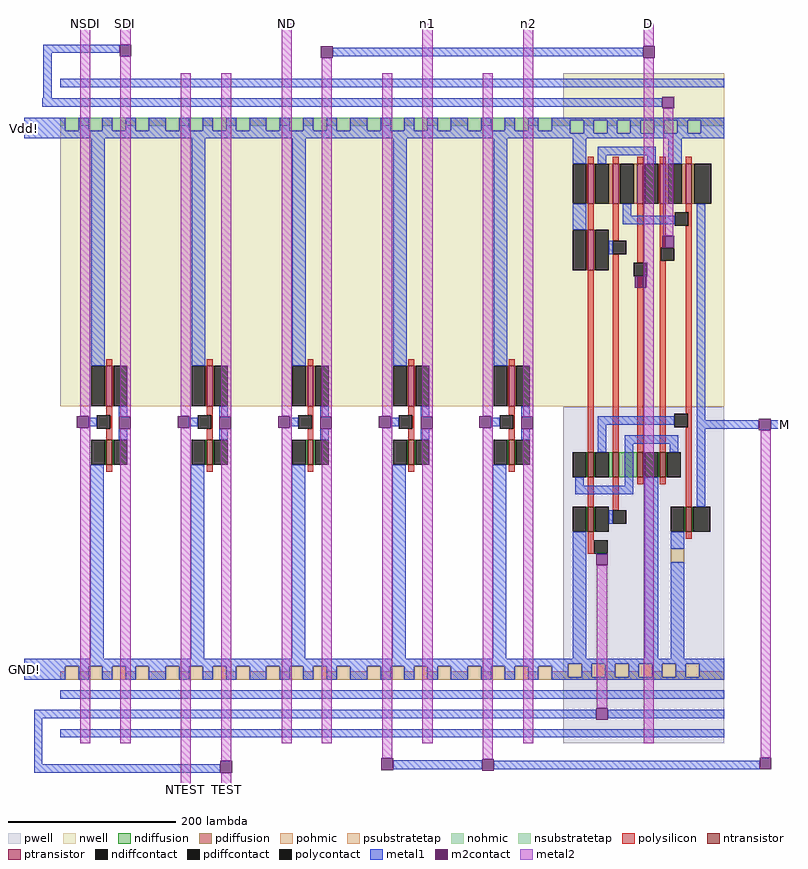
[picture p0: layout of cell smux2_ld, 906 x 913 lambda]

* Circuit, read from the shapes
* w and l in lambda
.subckt smux2_ld D GND! M ND NSDI NTEST SDI TEST Vdd! n1 n2
M1 SDI NSDI GND! VSUBS nfet w=30 l=7
M2 TEST NTEST GND! VSUBS nfet w=30 l=7
M3 D ND GND! VSUBS nfet w=30 l=7
M4 n1 M GND! VSUBS nfet w=30 l=7
M5 n2 M GND! VSUBS nfet w=30 l=7
M6 n3 TEST GND! VSUBS nfet w=30 l=7
M7 n4 TEST n5 VSUBS nfet w=30 l=7
M8 n6 n3 n4 VSUBS nfet w=30 l=7
M9 GND! D n6 VSUBS nfet w=30 l=7
M10 n5 SDI GND! VSUBS nfet w=30 l=7
M11 M n4 n7 VSUBS nfet w=30 l=7
M12 SDI NSDI Vdd! n8 pfet w=48 l=7
M13 TEST NTEST Vdd! n8 pfet w=48 l=7
M14 D ND Vdd! n8 pfet w=48 l=7
M15 n1 M Vdd! n8 pfet w=48 l=7
M16 n2 M Vdd! n8 pfet w=48 l=7
M17 n3 TEST Vdd! n8 pfet w=48 l=7
M18 n9 TEST Vdd! n8 pfet w=48 l=7
M19 n4 n3 n9 n8 pfet w=48 l=7
M20 n9 D n4 n8 pfet w=48 l=7
M21 Vdd! SDI n9 n8 pfet w=48 l=7
M22 M n4 Vdd! n8 pfet w=48 l=7
.ends

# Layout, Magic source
magic
tech c035u
<< metal1 >>
rect 23 878 114 888
rect 23 824 33 878
rect 368 874 738 884
rect 22 814 43 824
rect 0 776 43 801
rect 835 430 876 440
rect 890 430 906 440
rect 0 131 43 156
rect 12 85 43 95
rect 12 30 22 85
rect 12 20 234 30
rect 440 24 546 35
rect 560 24 877 34
<< m2contact >>
rect 114 874 128 888
rect 354 872 368 886
rect 738 872 752 886
rect 876 428 890 442
rect 234 20 248 34
rect 426 23 440 37
rect 546 22 560 36
rect 877 24 891 38
<< metal2 >>
rect 67 854 79 913
rect 115 888 127 913
rect 115 854 127 874
rect 307 854 319 913
rect 355 854 367 872
rect 475 854 487 913
rect 595 854 607 913
rect 739 886 751 913
rect 739 854 751 872
rect 187 0 199 55
rect 235 34 247 55
rect 427 37 439 55
rect 547 36 559 55
rect 878 38 890 428
rect 235 0 247 20
use inv inv_0
transform 1 0 43 0 1 55
box 0 0 120 799
use inv inv_1
transform 1 0 163 0 1 55
box 0 0 120 799
use inv inv_2
transform 1 0 283 0 1 55
box 0 0 120 799
use inv inv_3
transform 1 0 403 0 1 55
box 0 0 120 799
use inv inv_4
transform 1 0 523 0 1 55
box 0 0 120 799
use smux2 smux2_0
transform 1 0 643 0 1 55
box 0 0 192 799
<< labels >>
rlabel metal1 0 131 0 156 3 GND!
rlabel metal1 0 776 0 801 3 Vdd!
rlabel metal1 906 430 906 440 7 M
rlabel metal2 595 913 607 913 5 n2
rlabel metal2 475 913 487 913 5 n1
rlabel metal2 739 913 751 913 5 D
rlabel metal2 307 913 319 913 5 ND
rlabel metal2 235 0 247 0 1 TEST
rlabel metal2 187 0 199 0 1 NTEST
rlabel metal2 115 913 127 913 5 SDI
rlabel metal2 67 913 79 913 5 NSDI
<< end >>

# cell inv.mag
magic
tech c035u
<< nwell >>
rect 0 402 120 746
<< polysilicon >>
rect 55 450 62 458
rect 55 391 62 402
rect 60 375 62 391
rect 55 362 62 375
rect 55 324 62 332
<< ndiffusion >>
rect 53 332 55 362
rect 62 332 64 362
<< pdiffusion >>
rect 53 402 55 450
rect 62 402 64 450
<< pohmic >>
rect 0 76 6 86
rect 22 76 34 86
rect 50 76 62 86
rect 78 76 90 86
rect 106 76 120 86
<< nohmic >>
rect 0 736 6 746
rect 22 736 34 746
rect 50 736 62 746
rect 78 736 90 746
rect 106 736 120 746
<< ntransistor >>
rect 55 332 62 362
<< ptransistor >>
rect 55 402 62 450
<< polycontact >>
rect 44 375 60 391
<< ndiffcontact >>
rect 37 332 53 362
rect 64 332 80 362
<< pdiffcontact >>
rect 37 402 53 450
rect 64 402 80 450
<< psubstratetap >>
rect 6 76 22 92
rect 34 76 50 92
rect 62 76 78 92
rect 90 76 106 92
<< nsubstratetap >>
rect 6 730 22 746
rect 34 730 50 746
rect 62 730 78 746
rect 90 730 106 746
<< metal1 >>
rect 0 782 120 792
rect 0 759 120 769
rect 0 730 6 746
rect 22 730 34 746
rect 50 730 62 746
rect 78 730 90 746
rect 106 730 120 746
rect 0 721 120 730
rect 37 450 53 721
rect 34 378 44 388
rect 70 389 80 402
rect 70 362 80 375
rect 36 101 52 332
rect 0 92 120 101
rect 0 76 6 92
rect 22 76 34 92
rect 50 76 62 92
rect 78 76 90 92
rect 106 76 120 92
rect 0 53 120 63
rect 0 30 120 40
rect 0 7 120 17
<< m2contact >>
rect 20 376 34 390
rect 70 375 84 389
<< metal2 >>
rect 24 390 36 799
rect 34 376 36 390
rect 72 389 84 799
rect 24 0 36 376
rect 72 0 84 375
<< labels >>
rlabel metal1 0 721 0 746 7 Vdd!
rlabel metal1 0 759 0 769 7 Scan
rlabel metal1 0 782 0 792 6 ScanReturn
rlabel metal1 120 721 120 746 7 Vdd!
rlabel metal1 120 759 120 769 7 Scan
rlabel metal1 120 782 120 792 6 ScanReturn
rlabel metal2 24 799 36 799 5 A
rlabel metal2 72 799 84 799 5 Y
rlabel metal1 0 76 0 101 7 GND!
rlabel metal1 0 53 0 63 7 Clock
rlabel metal1 0 30 0 40 7 Test
rlabel metal1 0 7 0 17 8 nReset
rlabel metal1 120 7 120 17 8 nReset
rlabel metal1 120 30 120 40 7 Test
rlabel metal1 120 53 120 63 7 Clock
rlabel metal1 120 76 120 101 7 GND!
rlabel metal2 24 0 36 0 1 A
rlabel metal2 72 0 84 0 1 Y
<< end >>

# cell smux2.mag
magic
tech c035u
<< nwell >>
rect 0 401 192 799
<< pwell >>
rect 0 0 192 401
<< polysilicon >>
rect 29 691 36 699
rect 59 691 66 699
rect 88 691 95 699
rect 115 691 122 699
rect 146 691 153 699
rect 29 612 36 643
rect 59 599 66 643
rect 29 347 36 564
rect 59 347 66 583
rect 88 573 95 643
rect 115 591 122 643
rect 146 633 153 643
rect 149 617 153 633
rect 115 575 116 591
rect 88 347 95 557
rect 115 347 122 575
rect 146 393 153 617
rect 148 377 153 393
rect 29 282 36 317
rect 59 278 66 317
rect 88 309 95 317
rect 115 309 122 317
rect 146 282 153 377
rect 29 242 36 252
rect 146 244 153 252
rect 29 226 37 242
<< ndiffusion >>
rect 27 317 29 347
rect 36 317 38 347
rect 54 317 59 347
rect 66 317 88 347
rect 95 317 97 347
rect 113 317 115 347
rect 122 317 124 347
rect 27 252 29 282
rect 36 252 38 282
rect 144 252 146 282
rect 153 252 155 282
<< pdiffusion >>
rect 27 643 29 691
rect 36 643 38 691
rect 54 643 59 691
rect 66 643 68 691
rect 84 643 88 691
rect 95 643 97 691
rect 113 643 115 691
rect 122 643 125 691
rect 141 643 146 691
rect 153 643 156 691
rect 27 564 29 612
rect 36 564 38 612
<< pohmic >>
rect 0 79 6 86
rect 22 79 34 86
rect 50 79 62 86
rect 78 79 90 86
rect 106 79 118 86
rect 134 79 146 86
rect 162 79 192 86
rect 0 76 192 79
<< nohmic >>
rect 0 743 192 746
rect 0 736 8 743
rect 24 736 36 743
rect 52 736 64 743
rect 80 736 92 743
rect 108 736 120 743
rect 136 736 148 743
rect 164 736 192 743
<< ntransistor >>
rect 29 317 36 347
rect 59 317 66 347
rect 88 317 95 347
rect 115 317 122 347
rect 29 252 36 282
rect 146 252 153 282
<< ptransistor >>
rect 29 643 36 691
rect 59 643 66 691
rect 88 643 95 691
rect 115 643 122 691
rect 146 643 153 691
rect 29 564 36 612
<< polycontact >>
rect 59 583 75 599
rect 133 617 149 633
rect 116 575 132 591
rect 84 557 100 573
rect 132 377 148 393
rect 59 262 75 278
rect 37 226 53 242
<< ndiffcontact >>
rect 11 317 27 347
rect 38 317 54 347
rect 97 317 113 347
rect 124 317 140 347
rect 11 252 27 282
rect 38 252 54 282
rect 128 252 144 282
rect 155 252 175 282
<< pdiffcontact >>
rect 11 643 27 691
rect 38 643 54 691
rect 68 643 84 691
rect 97 643 113 691
rect 125 643 141 691
rect 156 643 176 691
rect 11 564 27 612
rect 38 564 54 612
<< psubstratetap >>
rect 128 216 144 232
rect 6 79 22 95
rect 34 79 50 95
rect 62 79 78 95
rect 90 79 106 95
rect 118 79 134 95
rect 146 79 162 95
<< nsubstratetap >>
rect 8 727 24 743
rect 36 727 52 743
rect 64 727 80 743
rect 92 727 108 743
rect 120 727 136 743
rect 148 727 164 743
<< metal1 >>
rect 0 782 192 792
rect 0 759 118 769
rect 0 743 192 746
rect 0 727 8 743
rect 24 727 36 743
rect 52 727 64 743
rect 80 727 92 743
rect 108 727 120 743
rect 136 727 148 743
rect 164 727 192 743
rect 0 721 192 727
rect 11 691 27 721
rect 41 701 110 711
rect 41 691 51 701
rect 100 691 110 701
rect 125 691 141 721
rect 11 612 27 643
rect 71 629 81 643
rect 71 619 133 629
rect 54 583 59 599
rect 41 380 132 390
rect 41 347 51 380
rect 159 385 169 643
rect 159 375 192 385
rect 73 357 137 367
rect 14 307 24 317
rect 73 307 83 357
rect 127 347 137 357
rect 14 297 83 307
rect 54 262 59 278
rect 11 101 27 252
rect 97 101 113 317
rect 159 282 169 375
rect 128 232 144 252
rect 128 101 144 216
rect 0 95 192 101
rect 0 79 6 95
rect 22 79 34 95
rect 50 79 62 95
rect 78 79 90 95
rect 106 79 118 95
rect 134 79 146 95
rect 162 79 192 95
rect 0 76 192 79
rect 0 53 192 63
rect 0 30 39 40
rect 53 30 192 40
rect 0 7 192 17
<< m2contact >>
rect 118 757 132 771
rect 118 591 132 605
rect 85 543 99 557
rect 39 212 53 226
rect 39 28 53 42
<< metal2 >>
rect 96 557 108 799
rect 119 605 131 757
rect 99 543 108 557
rect 40 42 52 212
rect 96 0 108 543
<< labels >>
rlabel metal1 0 782 0 792 4 ScanReturn
rlabel metal1 0 759 0 769 3 SDI
rlabel metal2 96 799 108 799 5 D
rlabel metal1 0 76 0 101 1 GND!
rlabel metal1 0 7 0 17 2 nReset
rlabel metal1 0 30 0 40 3 Test
rlabel metal1 0 53 0 63 3 Clock
rlabel metal2 96 0 108 0 1 D
rlabel metal1 0 721 0 746 3 Vdd!
rlabel metal1 192 782 192 792 6 ScanReturn
rlabel metal1 192 53 192 63 7 Clock
rlabel metal1 192 30 192 40 7 Test
rlabel metal1 192 7 192 17 8 nReset
rlabel metal1 192 76 192 101 7 GND!
rlabel metal1 192 721 192 746 7 Vdd!
rlabel metal1 192 375 192 385 7 M
<< end >>
